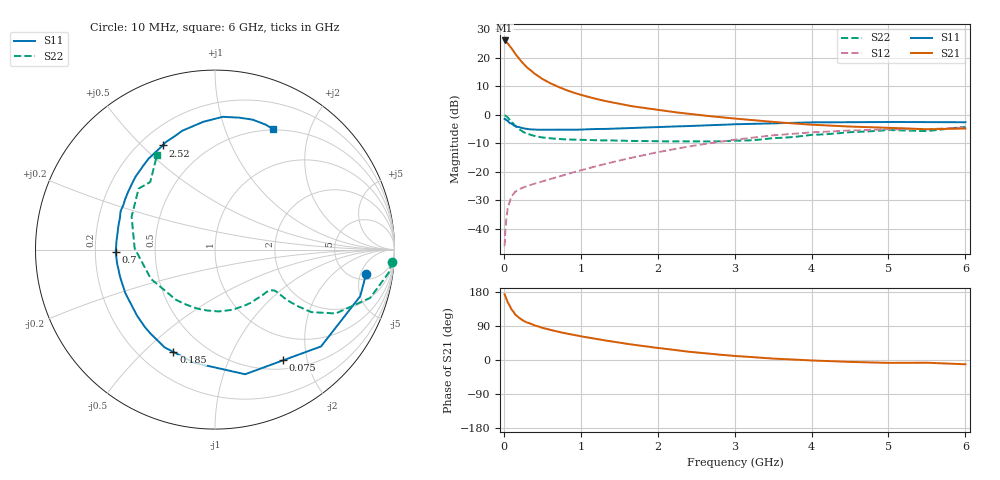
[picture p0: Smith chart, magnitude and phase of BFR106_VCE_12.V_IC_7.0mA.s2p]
! Infineon Technologies  Discrete & RF Semiconductors
! BFR106
! VCE =  12. V,  IC =  7.0 mA
! Common Emitter S-Parameters:  Nov 2015
# GHz  S  MA  R  50
!  f  S11  S21  S12  S22
! GHz  MAG  ANG  MAG  ANG  MAG  ANG  MAG  ANG
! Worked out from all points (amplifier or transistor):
!   210 points, 10 MHz to 6 GHz, reference 50 ohm
!   highest |S21| = 26.1 dB at 10 MHz (marker M1)
!   |S21| within 3 dB of that: start of sweep to 107.1 MHz
!   unconditionally stable (mu >= 1): 573.2 MHz to 1.925 GHz; 5.171 GHz to end of sweep
!   at 185 MHz: K = 0.45, MSG = 23.2 dB, |S12| = -26.3 dB
!   at 1.52 GHz: K = 1.09, MAG = 8.0 dB, |S12| = -15.9 dB
!   at 6 GHz: K = 1.01, MAG = -0.9 dB, |S12| = -4.4 dB
!   S11 on the Smith chart (normalised r, x): 10 MHz: 6.39, -6.27; 75 MHz: 0.62, -1.61; 185 MHz: 0.34, -0.62; 700 MHz: 0.29, -0.01; 2.52 GHz: 0.29, +0.58; 6 GHz: 0.49, +1.48
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0.01  0.8532 -9.0  20.25 173.4  0.005 88.0  0.9888 -3.9
0.02  0.8497 -17.8  20 168.4  0.0097 80.4  0.9762 -7.6
0.05  0.8001 -42.4  18.13 152.5  0.0227 68.8  0.9053 -17.3
0.075  0.7243 -58.4  16.25 143.9  0.0299 60.7  0.8295 -22.1
0.1  0.7145 -76.4  14.82 133.4  0.0374 55.8  0.7608 -27.9
0.15  0.6414 -100.3  11.72 119.5  0.0453 47.6  0.6394 -33.0
0.185  0.6155 -112.1  10.22 113.9  0.0484 45.9  0.5848 -33.9
0.2  0.6128 -117.3  9.608 110.9  0.0498 45.2  0.5614 -34.3
0.24  0.5897 -127.6  8.317 105.5  0.0527 44.0  0.5151 -34.8
0.3  0.5694 -139.7  6.835 99.0  0.0564 44.3  0.4692 -34.9
0.4  0.5554 -154.0  5.288 91.3  0.0624 46.4  0.4258 -34.4
0.5  0.5503 -163.8  4.287 84.9  0.0683 48.9  0.4027 -34.5
0.7  0.5532 -178.4  3.143 74.7  0.0822 54.6  0.3803 -37.3
0.8  0.5517 176.4  2.762 70.4  0.0902 56.4  0.3729 -38.9
1.02  0.5548 165.3  2.216 61.9  0.1088 60.3  0.3665 -44.0
1.4  0.5738 150.9  1.665 49.1  0.1472 63.8  0.3577 -55.3
2.02  0.6141 130.9  1.214 31.3  0.2246 62.3  0.3454 -78.9
2.52  0.6499 116.7  1.006 19.6  0.2962 57.3  0.3418 -102.5
3.1  0.6907 103.3  0.842 9.5  0.3814 48.5  0.3549 -133.8
4.1  0.7414 85.3  0.665 -1.9  0.5024 30.0  0.453 174.7
5.1  0.7527 72.6  0.59 -7.5  0.5602 13.2  0.5392 139.9
6  0.7448 64.1  0.579 -11.3  0.6038 1.4  0.6198 121.3
